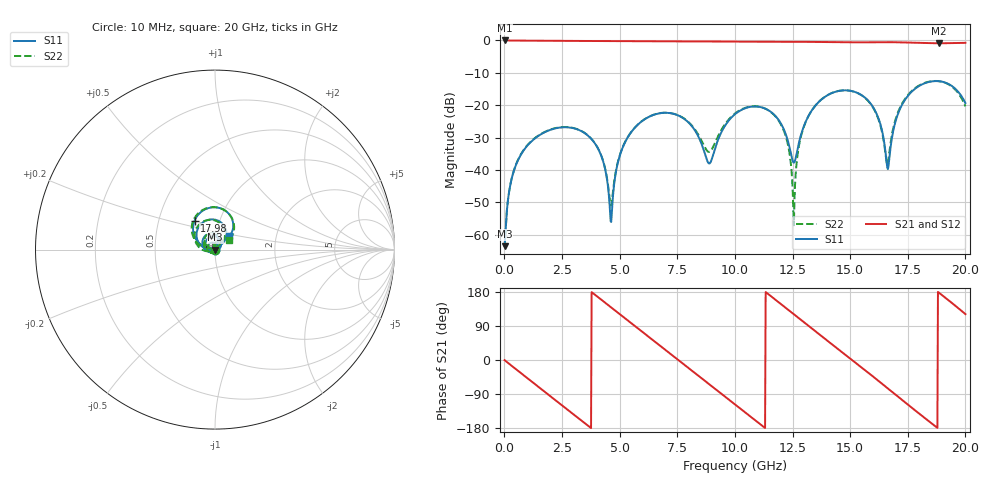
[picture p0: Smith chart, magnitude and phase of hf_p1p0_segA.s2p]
! Stitch-density study - 40 x 12 mm symmetric stripline, cut at x=20 mm
! Case: hf_p1p0_segA
! Sweep: 10 MHz - 20 GHz, 25 MHz step, 4 cores
# GHz S MA R 50.000000
! Terminal data exported
! Port[1] = U1.PAD1.SIG
! Port[2] = U2.PAD1.SIG
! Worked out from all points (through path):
!   801 points, 10 MHz to 20 GHz, reference 50 ohm
!   highest |S21| = -0.01 dB at 10 MHz (marker M1); lowest = -0.9 dB at 18.84 GHz (marker M2)
!   group delay of S21, straight-line fit = 133 ps
!   lowest |S11| = -63.5 dB at 10 MHz (marker M3), VSWR 1.00, Z = 50.1 - j0.0068 ohm
!   |S11| at or under -10 dB: start of sweep to end of sweep
!   |S22| runs from -63.5 to -12.5 dB; largest |S21 - S12| = 2.1e-14
!   S11 on the Smith chart (normalised r, x): 10 MHz: 1.00, -0.00; 17.98 GHz: 0.76, +0.26; 20 GHz: 1.16, +0.17
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0.01  0.000669 -5.8  0.9993 -0.5  0.9993 -0.5  0.0006693 -5.8
0.31  0.007177 -87.5  0.9963 -15.0  0.9963 -15.0  0.007274 -85.3
0.885  0.02128 -127.6  0.9927 -42.6  0.9927 -42.6  0.02161 -121.6
2.085  0.04277 167.6  0.986 -99.9  0.986 -99.9  0.04316 -180.0
3.36  0.03951 101.4  0.9817 -160.6  0.9817 -160.6  0.03974 120.2
4.185  0.01722 57.2  0.98 160.1  0.98 160.1  0.01738 86.4
4.635  0.001578 -66.5  0.9785 138.6  0.9785 138.6  0.002856 156.9
5.26  0.02791 -167.1  0.9758 108.8  0.9758 108.8  0.02819 -158.5
6.685  0.07455 121.4  0.9687 40.9  0.9687 40.9  0.07487 140.5
7.76  0.06308 66.0  0.9661 -10.2  0.9661 -10.2  0.06365 96.4
8.885  0.0126 -66.1  0.9647 -63.8  0.9647 -63.8  0.01904 120.3
10.01  0.073 159.4  0.9588 -117.6  0.9588 -117.6  0.07492 141.7
11.81  0.06503 75.6  0.9542 156.7  0.9542 156.7  0.06403 63.9
12.56  0.01296 119.3  0.9539 120.7  0.9539 120.7  0.001404 -85.7
13.36  0.08548 162.2  0.948 82.1  0.948 82.1  0.08559 173.6
15.06  0.1658 88.7  0.9332 1.2  0.9332 1.2  0.1657 94.3
16.035  0.08855 47.0  0.9396 -45.6  0.9396 -45.6  0.08688 52.5
16.685  0.01337 138.8  0.9405 -77.5  0.9405 -77.5  0.01694 147.4
17.135  0.08315 160.7  0.9352 -99.6  0.9352 -99.6  0.08737 163.2
17.985  0.1975 125.2  0.9158 -141.0  0.9158 -141.0  0.2012 127.2
18.835  0.2351 87.5  0.9046 178.4  0.9046 178.4  0.2356 87.8
20  0.1081 42.9  0.9181 121.1  0.9181 121.1  0.09612 33.0
